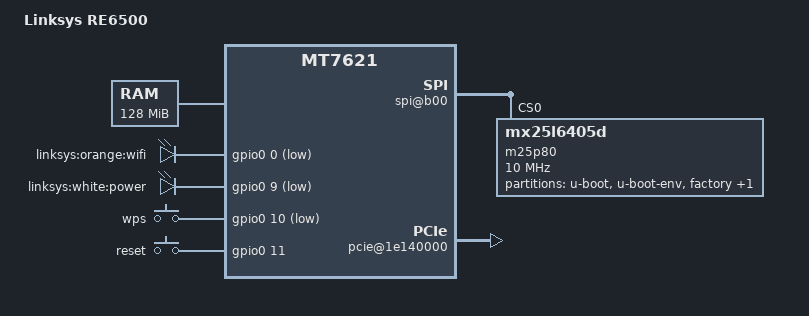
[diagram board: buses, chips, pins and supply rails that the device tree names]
/dts-v1/;

/include/ "mt7621.dtsi"

/ {
	compatible = "mediatek,mt7621-eval-board", "mediatek,mt7621-soc";
	model = "Linksys RE6500";

	memory@0 {
		device_type = "memory";
		reg = <0x0 0x8000000>;
	};

	chosen {
		bootargs = "console=ttyS0,57600";
	};

	palmbus@1E000000 {
		spi@b00 {
			status = "okay";

			m25p80@0 {
				#address-cells = <1>;
				#size-cells = <1>;
				compatible = "mx25l6405d";
				reg = <0 0>;
				linux,modalias = "m25p80", "en25q64";
				spi-max-frequency = <10000000>;

				partition@0 {
					label = "u-boot";
					reg = <0x0 0x30000>;
					read-only;
				};

				partition@30000 {
					label = "u-boot-env";
					reg = <0x30000 0x10000>;
					read-only;
				};

				factory: partition@40000 {
					label = "factory";
					reg = <0x40000 0x10000>;
					read-only;
				};

				partition@50000 {
					label = "firmware";
					reg = <0x50000 0xfb0000>;
				};
			};
		};
	};

	pinctrl {
		state_default: pinctrl0 {
			gpio {
				ralink,group = "i2c", "uart2", "uart3", "rgmii2";
				ralink,function = "gpio";
			};
		};
	};

	pcie@1e140000 {
		status = "okay";

		pcie0 {
			mt76@0,0 {
				reg = <0x0000 0 0 0 0>;
				device_type = "pci";
				mediatek,mtd-eeprom = <&factory 0x0000>;
				mediatek,2ghz = <0>;
			};
		};

		pcie1 {
			mt76@1,0 {
				reg = <0x0000 0 0 0 0>;
				device_type = "pci";
				mediatek,mtd-eeprom = <&factory 0x8000>;
				mediatek,5ghz = <0>;
			};
		};
	};

	gpio-leds {
		compatible = "gpio-leds";
		wifi {
			label = "linksys:orange:wifi";
			gpios = <&gpio0 0 1>;
		};
		power {
			label = "linksys:white:power";
			gpios = <&gpio0 9 1>;
		};
	};

	gpio-keys-polled {
		compatible = "gpio-keys-polled";
		#address-cells = <1>;
		#size-cells = <0>;
		poll-interval = <20>;
		wps {
			label = "wps";
			gpios = <&gpio0 10 1>;
			linux,code = <0x211>;
		};
		reset {
			label = "reset";
			gpios = <&gpio0 11 0>;
			linux,code = <0x198>;
		};
	};
};
